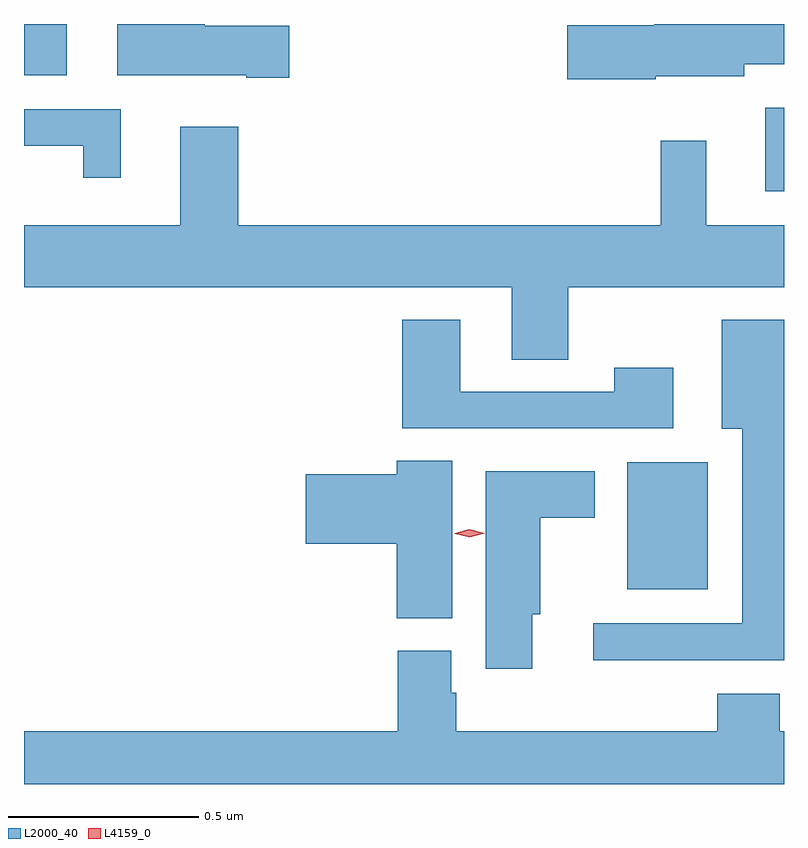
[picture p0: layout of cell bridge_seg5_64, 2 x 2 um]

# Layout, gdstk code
import gdstk
lib = gdstk.Library(unit=1e-6, precision=1e-09)
def R(c, l, rs):  # rectangles x0, y0, x1, y1
    for r in rs: c.add(gdstk.rectangle(r[:2], r[2:], *l))
def P(c, l, *ps):  # polygons
    for p in ps: c.add(gdstk.Polygon(p, *l))
L2000_40 = (2000, 40)
L4159_0 = (4159, 0)

bridge_seg5_64 = lib.new_cell('bridge_seg5_64')
R(bridge_seg5_64, L2000_40, [(276.956,911.909,277.168,912.244), (277.319,912.957,277.369,913.177), (275.369,913.262,275.482,913.397)])
P(bridge_seg5_64, L2000_40, [(276.067,913.392),(275.845,913.392),(275.845,913.397),(275.615,913.397),(275.615,913.262),(275.954,913.262),(275.954,913.255),(276.067,913.255)],
  [(277.032,913.259),(277.264,913.259),(277.264,913.291),(277.369,913.291),(277.369,913.397),(277.028,913.397),(277.028,913.394),(276.798,913.394),(276.798,913.252),(277.032,913.252)],
  [(275.623,913.173),(275.369,913.173),(275.369,913.077),(275.525,913.077),(275.525,912.993),(275.623,912.993)],
  [(275.933,913.126),(275.78,913.126),(275.78,912.868),(275.369,912.868),(275.369,912.704),(276.653,912.704),(276.653,912.514),(276.801,912.514),(276.801,912.704),(277.369,912.704),(277.369,912.868),(277.165,912.868),(277.165,913.09),(277.044,913.09),(277.044,912.868),(275.933,912.868)],
  [(277.369,912.619),(277.205,912.619),(277.205,912.332),(277.259,912.332),(277.259,911.82),(276.867,911.82),(276.867,911.723),(277.369,911.723)],
  [(277.078,912.493),(276.922,912.493),(276.922,912.429),(276.517,912.429),(276.517,912.619),(276.365,912.619),(276.365,912.333),(277.078,912.333)],
  [(276.496,912.248),(276.35,912.248),(276.35,912.212),(276.111,912.212),(276.111,912.029),(276.35,912.029),(276.35,911.833),(276.496,911.833)],
  [(276.706,911.844),(276.727,911.844),(276.727,912.098),(276.871,912.098),(276.871,912.22),(276.584,912.22),(276.584,911.7),(276.706,911.7)],
  [(275.369,911.397),(277.369,911.397),(277.369,911.536),(277.358,911.536),(277.358,911.635),(277.193,911.635),(277.193,911.536),(276.506,911.536),(276.506,911.637),(276.493,911.637),(276.493,911.748),(276.353,911.748),(276.353,911.536),(275.369,911.536)])
P(bridge_seg5_64, L4159_0, [(276.542,912.047),(276.502,912.056),(276.502,912.057),(276.502,912.057),(276.541,912.067),(276.581,912.057),(276.581,912.057),(276.581,912.057)])

lib.write_gds('bridge_seg5_64.gds')
